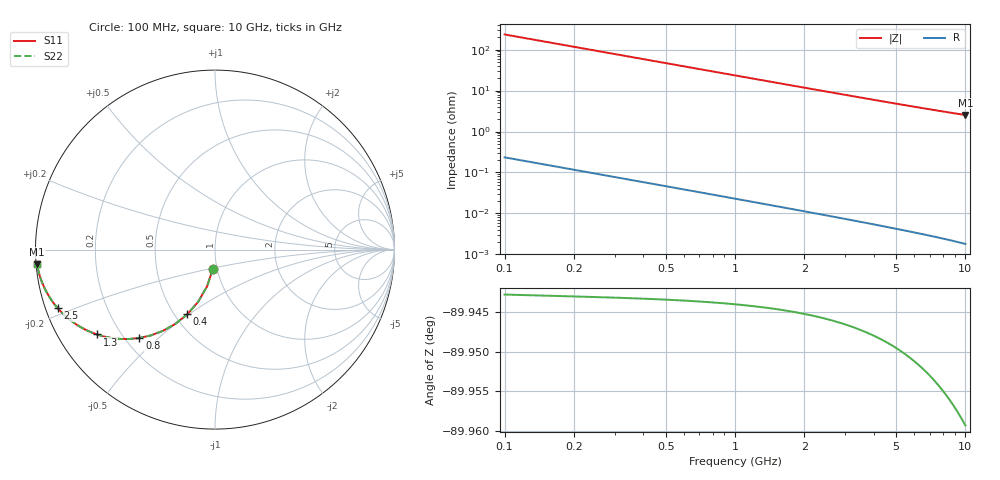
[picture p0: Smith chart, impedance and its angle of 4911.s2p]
# Hz S RI R 50.00
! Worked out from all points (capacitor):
!   100 points, 100 MHz to 10 GHz, reference 50 ohm
!   read as one part in shunt: C = 6.79 pF near 100 MHz
!   lowest |Z| = 2.53 ohm at 10 GHz (marker M1)
!   S11 on the Smith chart (normalised r, x): 100 MHz: 0.96, -0.20; 400 MHz: 0.58, -0.49; 800 MHz: 0.26, -0.44; 1.3 GHz: 0.12, -0.32; 2.5 GHz: 0.03, -0.18; 10 GHz: 0.00, -0.04
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1e8  -0.0113 -0.1054  0.9886 -0.1056  0.9886 -0.1056  -0.0113 -0.1054
2e8  -0.0437 -0.2038  0.9562 -0.2042  0.9562 -0.2042  -0.0437 -0.2038
3e8  -0.0931 -0.2899  0.9068 -0.2904  0.9068 -0.2904  -0.0931 -0.2899
4e8  -0.1543 -0.3604  0.8457 -0.3611  0.8457 -0.3611  -0.1543 -0.3604
5e8  -0.2217 -0.4144  0.7783 -0.4153  0.7783 -0.4153  -0.2217 -0.4144
6e8  -0.2907 -0.4531  0.7092 -0.4542  0.7092 -0.4542  -0.2907 -0.4531
7e8  -0.358 -0.4783  0.6419 -0.4796  0.6419 -0.4796  -0.358 -0.4783
8e8  -0.4214 -0.4926  0.5786 -0.494  0.5786 -0.494  -0.4214 -0.4926
1e9  -0.5321 -0.4976  0.4679 -0.4994  0.4679 -0.4994  -0.5321 -0.4976
1.1e9  -0.579 -0.4922  0.4209 -0.4942  0.4209 -0.4942  -0.579 -0.4922
1.3e9  -0.6575 -0.4729  0.3424 -0.4752  0.3424 -0.4752  -0.6575 -0.4729
1.5e9  -0.7187 -0.4478  0.2812 -0.4505  0.2812 -0.4505  -0.7187 -0.4478
1.8e9  -0.7862 -0.4079  0.2138 -0.4111  0.2138 -0.4111  -0.7862 -0.4079
2.1e9  -0.8334 -0.3702  0.1666 -0.374  0.1666 -0.374  -0.8334 -0.3702
2.5e9  -0.8763 -0.3264  0.1236 -0.331  0.1236 -0.331  -0.8763 -0.3264
2.9e9  -0.905 -0.29  0.0949 -0.2953  0.0949 -0.2953  -0.905 -0.29
3.4e9  -0.929 -0.2531  0.0709 -0.2593  0.0709 -0.2593  -0.929 -0.2531
4.2e9  -0.9523 -0.2086  0.0476 -0.2163  0.0476 -0.2163  -0.9523 -0.2086
5.1e9  -0.9672 -0.1727  0.0327 -0.1821  0.0327 -0.1821  -0.9672 -0.1727
6.7e9  -0.9808 -0.1302  0.019 -0.1426  0.019 -0.1426  -0.9808 -0.1302
8.4e9  -0.9878 -0.1009  0.012 -0.1167  0.012 -0.1167  -0.9878 -0.1009
1e10  -0.9914 -0.0814  0.00833 -0.1005  0.00833 -0.1005  -0.9914 -0.0814
